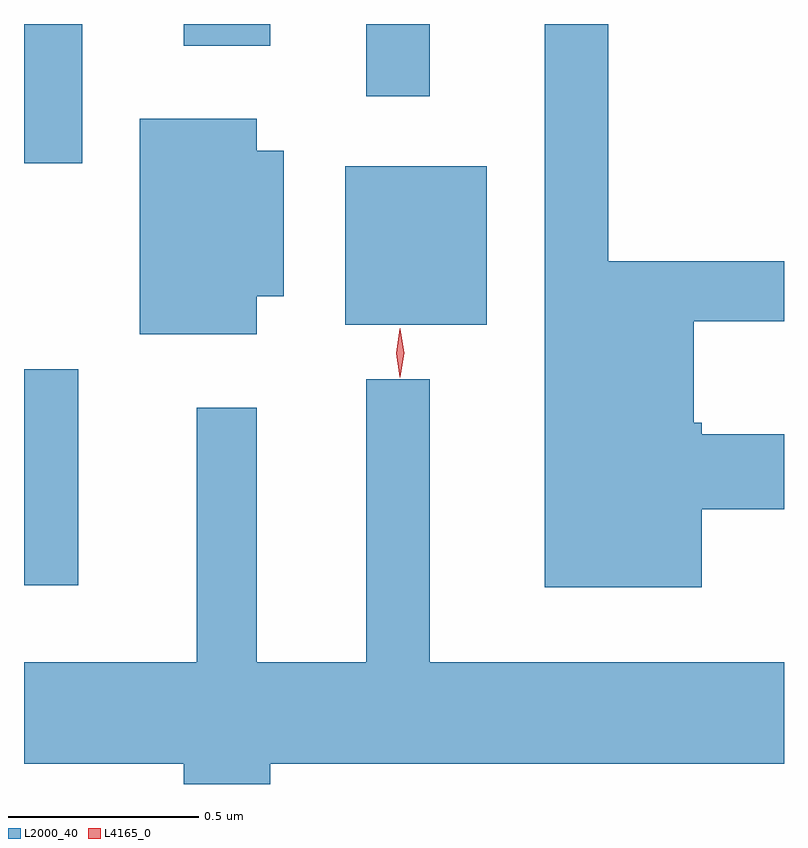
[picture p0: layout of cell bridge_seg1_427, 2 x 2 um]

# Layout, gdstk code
import gdstk
lib = gdstk.Library(unit=1e-6, precision=1e-09)
def R(c, l, rs):  # rectangles x0, y0, x1, y1
    for r in rs: c.add(gdstk.rectangle(r[:2], r[2:], *l))
def P(c, l, *ps):  # polygons
    for p in ps: c.add(gdstk.Polygon(p, *l))
L2000_40 = (2000, 40)
L4165_0 = (4165, 0)

bridge_seg1_427 = lib.new_cell('bridge_seg1_427')
R(bridge_seg1_427, L2000_40, [(343.951,951.106,344.094,951.674), (344.796,951.791,345.169,952.209), (343.951,952.216,344.104,952.583), (344.851,952.393,345.019,952.583), (344.371,952.526,344.599,952.583)])
P(bridge_seg1_427, L2000_40, [(345.734,951.306),(345.951,951.306),(345.951,951.504),(345.734,951.504),(345.734,951.534),(345.714,951.534),(345.714,951.801),(345.951,951.801),(345.951,951.959),(345.489,951.959),(345.489,952.583),(345.321,952.583),(345.321,951.101),(345.734,951.101)],
  [(344.564,951.866),(344.634,951.866),(344.634,952.249),(344.564,952.249),(344.564,952.334),(344.256,952.334),(344.256,951.766),(344.564,951.766)],
  [(345.951,950.904),(345.019,950.904),(345.019,951.648),(344.851,951.648),(344.851,950.904),(344.564,950.904),(344.564,951.573),(344.406,951.573),(344.406,950.904),(343.951,950.904),(343.951,950.636),(344.371,950.636),(344.371,950.583),(344.599,950.583),(344.599,950.636),(345.951,950.636)])
P(bridge_seg1_427, L4165_0, [(344.94,951.653),(344.931,951.717),(344.94,951.781),(344.941,951.782),(344.941,951.781),(344.951,951.717),(344.941,951.653),(344.941,951.653)])

lib.write_gds('bridge_seg1_427.gds')
